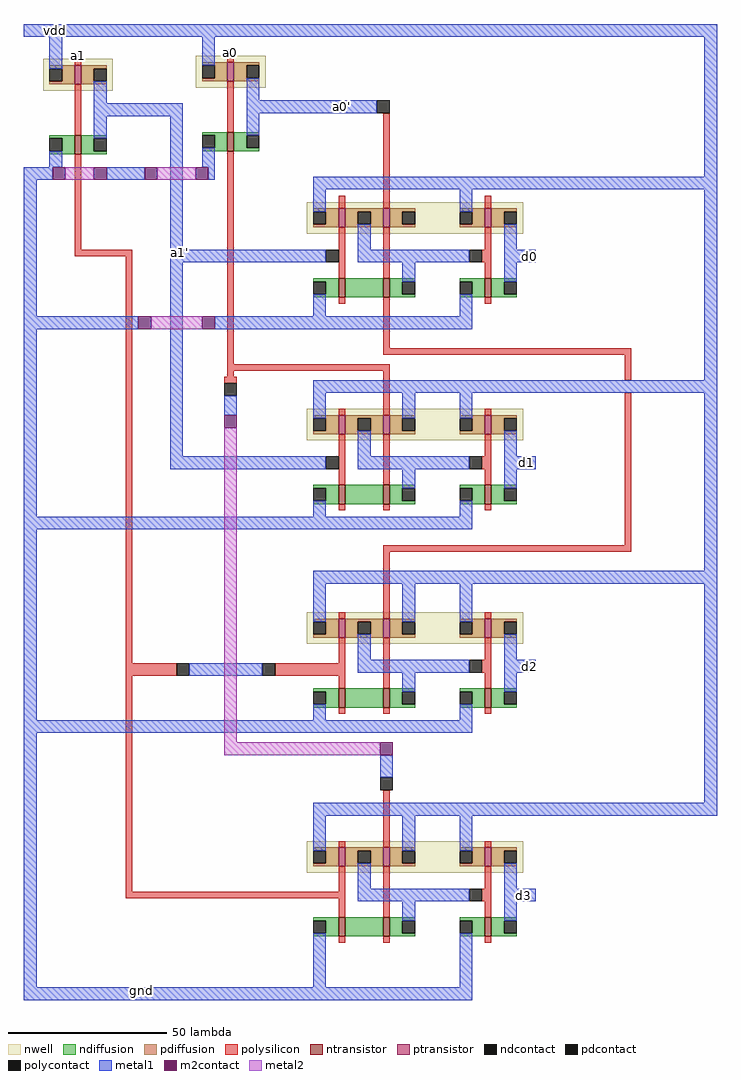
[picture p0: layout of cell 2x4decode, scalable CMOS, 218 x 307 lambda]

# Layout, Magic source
magic
tech scmos
<< nwell >>
rect -21 1 1 11
rect 27 2 49 12
rect 62 -44 130 -34
rect 62 -109 130 -99
rect 62 -173 130 -163
rect 62 -245 130 -235
<< polysilicon >>
rect -11 9 -9 13
rect 37 10 39 14
rect -11 -13 -9 3
rect 37 -12 39 4
rect -11 -49 -9 -19
rect -11 -51 7 -49
rect 5 -179 7 -51
rect 37 -85 39 -18
rect 72 -36 74 -32
rect 86 -36 88 -6
rect 118 -36 120 -32
rect 72 -58 74 -42
rect 86 -58 88 -42
rect 118 -49 120 -42
rect 117 -53 120 -49
rect 118 -58 120 -53
rect 72 -66 74 -64
rect 86 -80 88 -64
rect 118 -66 120 -64
rect 86 -82 164 -80
rect 37 -87 88 -85
rect 37 -89 39 -87
rect 36 -91 40 -89
rect 72 -101 74 -99
rect 86 -101 88 -87
rect 162 -90 164 -82
rect 118 -101 120 -99
rect 72 -123 74 -107
rect 86 -123 88 -107
rect 118 -114 120 -107
rect 117 -118 120 -114
rect 118 -123 120 -118
rect 72 -131 74 -129
rect 86 -131 88 -129
rect 118 -131 120 -129
rect 162 -142 164 -94
rect 86 -144 164 -142
rect 72 -165 74 -163
rect 86 -165 88 -144
rect 118 -165 120 -163
rect 72 -179 74 -171
rect 5 -183 21 -179
rect 52 -183 74 -179
rect 5 -251 7 -183
rect 72 -187 74 -183
rect 86 -187 88 -171
rect 118 -178 120 -171
rect 117 -182 120 -178
rect 118 -187 120 -182
rect 72 -195 74 -193
rect 86 -195 88 -193
rect 118 -195 120 -193
rect 72 -237 74 -235
rect 86 -237 88 -219
rect 118 -237 120 -235
rect 72 -251 74 -243
rect 5 -253 74 -251
rect 72 -259 74 -253
rect 86 -259 88 -243
rect 118 -250 120 -243
rect 117 -254 120 -250
rect 118 -259 120 -254
rect 72 -267 74 -265
rect 86 -267 88 -265
rect 118 -267 120 -265
<< ndiffusion >>
rect 29 -13 37 -12
rect -19 -14 -11 -13
rect -15 -18 -11 -14
rect -19 -19 -11 -18
rect -9 -14 -1 -13
rect -9 -18 -5 -14
rect 33 -17 37 -13
rect 29 -18 37 -17
rect 39 -13 47 -12
rect 39 -17 43 -13
rect 39 -18 47 -17
rect -9 -19 -1 -18
rect 64 -59 72 -58
rect 68 -63 72 -59
rect 64 -64 72 -63
rect 74 -64 86 -58
rect 88 -59 96 -58
rect 88 -63 92 -59
rect 88 -64 96 -63
rect 110 -59 118 -58
rect 114 -63 118 -59
rect 110 -64 118 -63
rect 120 -59 128 -58
rect 120 -63 124 -59
rect 120 -64 128 -63
rect 64 -124 72 -123
rect 68 -128 72 -124
rect 64 -129 72 -128
rect 74 -129 86 -123
rect 88 -124 96 -123
rect 88 -128 92 -124
rect 88 -129 96 -128
rect 110 -124 118 -123
rect 114 -128 118 -124
rect 110 -129 118 -128
rect 120 -124 128 -123
rect 120 -128 124 -124
rect 120 -129 128 -128
rect 64 -188 72 -187
rect 68 -192 72 -188
rect 64 -193 72 -192
rect 74 -193 86 -187
rect 88 -188 96 -187
rect 88 -192 92 -188
rect 88 -193 96 -192
rect 110 -188 118 -187
rect 114 -192 118 -188
rect 110 -193 118 -192
rect 120 -188 128 -187
rect 120 -192 124 -188
rect 120 -193 128 -192
rect 64 -260 72 -259
rect 68 -264 72 -260
rect 64 -265 72 -264
rect 74 -265 86 -259
rect 88 -260 96 -259
rect 88 -264 92 -260
rect 88 -265 96 -264
rect 110 -260 118 -259
rect 114 -264 118 -260
rect 110 -265 118 -264
rect 120 -260 128 -259
rect 120 -264 124 -260
rect 120 -265 128 -264
<< pdiffusion >>
rect 29 9 37 10
rect -19 8 -11 9
rect -15 4 -11 8
rect -19 3 -11 4
rect -9 8 -1 9
rect -9 4 -5 8
rect 33 5 37 9
rect 29 4 37 5
rect 39 9 47 10
rect 39 5 43 9
rect 39 4 47 5
rect -9 3 -1 4
rect 64 -37 72 -36
rect 68 -41 72 -37
rect 64 -42 72 -41
rect 74 -37 86 -36
rect 74 -41 78 -37
rect 82 -41 86 -37
rect 74 -42 86 -41
rect 88 -37 96 -36
rect 88 -41 92 -37
rect 88 -42 96 -41
rect 110 -37 118 -36
rect 114 -41 118 -37
rect 110 -42 118 -41
rect 120 -37 128 -36
rect 120 -41 124 -37
rect 120 -42 128 -41
rect 64 -102 72 -101
rect 68 -106 72 -102
rect 64 -107 72 -106
rect 74 -102 86 -101
rect 74 -106 78 -102
rect 82 -106 86 -102
rect 74 -107 86 -106
rect 88 -102 96 -101
rect 88 -106 92 -102
rect 88 -107 96 -106
rect 110 -102 118 -101
rect 114 -106 118 -102
rect 110 -107 118 -106
rect 120 -102 128 -101
rect 120 -106 124 -102
rect 120 -107 128 -106
rect 64 -166 72 -165
rect 68 -170 72 -166
rect 64 -171 72 -170
rect 74 -166 86 -165
rect 74 -170 78 -166
rect 82 -170 86 -166
rect 74 -171 86 -170
rect 88 -166 96 -165
rect 88 -170 92 -166
rect 88 -171 96 -170
rect 110 -166 118 -165
rect 114 -170 118 -166
rect 110 -171 118 -170
rect 120 -166 128 -165
rect 120 -170 124 -166
rect 120 -171 128 -170
rect 64 -238 72 -237
rect 68 -242 72 -238
rect 64 -243 72 -242
rect 74 -238 86 -237
rect 74 -242 78 -238
rect 82 -242 86 -238
rect 74 -243 86 -242
rect 88 -238 96 -237
rect 88 -242 92 -238
rect 88 -243 96 -242
rect 110 -238 118 -237
rect 114 -242 118 -238
rect 110 -243 118 -242
rect 120 -238 128 -237
rect 120 -242 124 -238
rect 120 -243 128 -242
<< metal1 >>
rect -27 18 191 22
rect -19 8 -15 18
rect 29 9 33 18
rect -5 -3 -1 4
rect 43 -2 47 5
rect -5 -7 23 -3
rect -5 -14 -1 -7
rect -19 -23 -15 -18
rect -27 -27 -18 -23
rect -1 -27 11 -23
rect -27 -70 -23 -27
rect 19 -49 23 -7
rect 43 -6 84 -2
rect 43 -13 47 -6
rect 29 -23 33 -17
rect 31 -27 33 -23
rect 187 -26 191 18
rect 64 -30 191 -26
rect 64 -37 68 -30
rect 110 -37 114 -30
rect 78 -49 82 -41
rect 124 -49 128 -41
rect 19 -53 68 -49
rect 78 -53 113 -49
rect 124 -53 134 -49
rect -27 -74 9 -70
rect -27 -133 -23 -74
rect 19 -114 23 -53
rect 92 -59 96 -53
rect 124 -59 128 -53
rect 64 -70 68 -63
rect 110 -70 114 -63
rect 33 -74 114 -70
rect 187 -90 191 -30
rect 36 -101 40 -95
rect 64 -94 191 -90
rect 64 -102 68 -94
rect 92 -102 96 -94
rect 110 -102 114 -94
rect 78 -114 82 -106
rect 124 -114 128 -106
rect 19 -118 68 -114
rect 78 -118 113 -114
rect 124 -118 134 -114
rect 92 -124 96 -118
rect 124 -124 128 -118
rect 64 -133 68 -128
rect 110 -133 114 -128
rect -27 -137 114 -133
rect -27 -197 -23 -137
rect 187 -150 191 -94
rect 64 -154 191 -150
rect 64 -166 68 -154
rect 92 -166 96 -154
rect 110 -166 114 -154
rect 78 -178 82 -170
rect 124 -178 128 -170
rect 25 -183 48 -179
rect 78 -182 113 -178
rect 124 -182 134 -178
rect 92 -188 96 -182
rect 124 -188 128 -182
rect 64 -197 68 -192
rect 110 -197 114 -192
rect -27 -201 114 -197
rect -27 -281 -23 -201
rect 85 -215 89 -208
rect 187 -223 191 -154
rect 64 -227 191 -223
rect 64 -238 68 -227
rect 92 -238 96 -227
rect 110 -238 114 -227
rect 78 -250 82 -242
rect 124 -250 128 -242
rect 78 -254 113 -250
rect 124 -254 134 -250
rect 92 -260 96 -254
rect 124 -260 128 -254
rect 64 -281 68 -264
rect 110 -281 114 -264
rect -27 -285 114 -281
<< metal2 >>
rect -14 -27 -5 -23
rect 15 -27 27 -23
rect 13 -74 29 -70
rect 36 -204 40 -105
rect 36 -208 85 -204
<< ntransistor >>
rect -11 -19 -9 -13
rect 37 -18 39 -12
rect 72 -64 74 -58
rect 86 -64 88 -58
rect 118 -64 120 -58
rect 72 -129 74 -123
rect 86 -129 88 -123
rect 118 -129 120 -123
rect 72 -193 74 -187
rect 86 -193 88 -187
rect 118 -193 120 -187
rect 72 -265 74 -259
rect 86 -265 88 -259
rect 118 -265 120 -259
<< ptransistor >>
rect -11 3 -9 9
rect 37 4 39 10
rect 72 -42 74 -36
rect 86 -42 88 -36
rect 118 -42 120 -36
rect 72 -107 74 -101
rect 86 -107 88 -101
rect 118 -107 120 -101
rect 72 -171 74 -165
rect 86 -171 88 -165
rect 118 -171 120 -165
rect 72 -243 74 -237
rect 86 -243 88 -237
rect 118 -243 120 -237
<< polycontact >>
rect 84 -6 88 -2
rect 68 -53 72 -49
rect 113 -53 117 -49
rect 36 -95 40 -91
rect 68 -118 72 -114
rect 113 -118 117 -114
rect 21 -183 25 -179
rect 48 -183 52 -179
rect 113 -182 117 -178
rect 85 -219 89 -215
rect 113 -254 117 -250
<< ndcontact >>
rect -19 -18 -15 -14
rect -5 -18 -1 -14
rect 29 -17 33 -13
rect 43 -17 47 -13
rect 64 -63 68 -59
rect 92 -63 96 -59
rect 110 -63 114 -59
rect 124 -63 128 -59
rect 64 -128 68 -124
rect 92 -128 96 -124
rect 110 -128 114 -124
rect 124 -128 128 -124
rect 64 -192 68 -188
rect 92 -192 96 -188
rect 110 -192 114 -188
rect 124 -192 128 -188
rect 64 -264 68 -260
rect 92 -264 96 -260
rect 110 -264 114 -260
rect 124 -264 128 -260
<< pdcontact >>
rect -19 4 -15 8
rect -5 4 -1 8
rect 29 5 33 9
rect 43 5 47 9
rect 64 -41 68 -37
rect 78 -41 82 -37
rect 92 -41 96 -37
rect 110 -41 114 -37
rect 124 -41 128 -37
rect 64 -106 68 -102
rect 78 -106 82 -102
rect 92 -106 96 -102
rect 110 -106 114 -102
rect 124 -106 128 -102
rect 64 -170 68 -166
rect 78 -170 82 -166
rect 92 -170 96 -166
rect 110 -170 114 -166
rect 124 -170 128 -166
rect 64 -242 68 -238
rect 78 -242 82 -238
rect 92 -242 96 -238
rect 110 -242 114 -238
rect 124 -242 128 -238
<< m2contact >>
rect -18 -27 -14 -23
rect -5 -27 -1 -23
rect 11 -27 15 -23
rect 27 -27 31 -23
rect 9 -74 13 -70
rect 29 -74 33 -70
rect 36 -105 40 -101
rect 85 -208 89 -204
<< labels >>
rlabel metal1 -17 20 -17 20 5 vdd
rlabel polysilicon 38 13 38 13 1 a0
rlabel metal1 132 -51 132 -51 1 d0
rlabel metal1 131 -116 131 -116 1 d1
rlabel metal1 132 -180 132 -180 1 d2
rlabel metal1 130 -252 130 -252 1 d3
rlabel metal1 73 -4 73 -4 1 a0'
rlabel metal1 10 -282 10 -282 1 gnd
rlabel metal1 22 -50 22 -50 1 a1'
rlabel polysilicon -10 12 -10 12 1 a1
<< end >>
